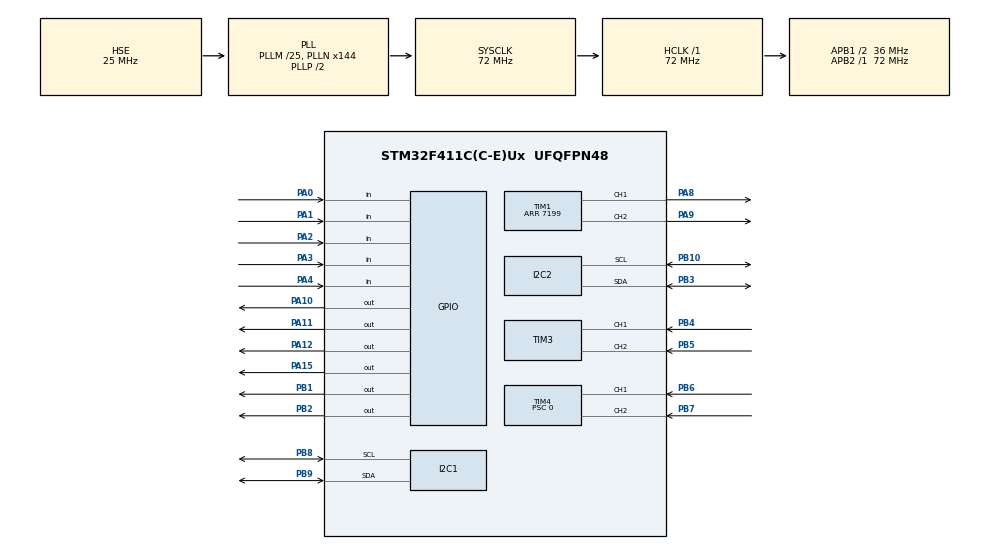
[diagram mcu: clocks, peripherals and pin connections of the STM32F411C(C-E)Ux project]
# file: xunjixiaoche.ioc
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Mcu.Family=STM32F4
Mcu.Name=STM32F411C(C-E)Ux
Mcu.Package=UFQFPN48
NVIC.PriorityGroup=NVIC_PRIORITYGROUP_4
NVIC.TIM1_BRK_TIM9_IRQn=true\:0\:0\:false\:false\:true\:true\:true\:true
NVIC.TIM4_IRQn=true\:0\:0\:false\:false\:true\:true\:true\:true
PA0-WKUP.Signal=GPIO_Input
PA1.Signal=GPIO_Input
PA10.Signal=GPIO_Output
PA11.Signal=GPIO_Output
PA12.Signal=GPIO_Output
PA13.Mode=Serial_Wire
PA13.Signal=SYS_JTMS-SWDIO
PA14.Mode=Serial_Wire
PA14.Signal=SYS_JTCK-SWCLK
PA15.Signal=GPIO_Output
PA2.Signal=GPIO_Input
PA3.Signal=GPIO_Input
PA4.Signal=GPIO_Input
PA8.Signal=S_TIM1_CH1
PA9.Signal=S_TIM1_CH2
PB1.Signal=GPIO_Output
PB10.Mode=I2C
PB10.Signal=I2C2_SCL
PB2.Signal=GPIO_Output
PB3.Mode=I2C
PB3.Signal=I2C2_SDA
PB4.Signal=S_TIM3_CH1
PB5.Signal=S_TIM3_CH2
PB6.Signal=S_TIM4_CH1
PB7.Signal=S_TIM4_CH2
PB8.Mode=I2C
PB8.Signal=I2C1_SCL
PB9.Mode=I2C
PB9.Signal=I2C1_SDA
PC14-OSC32_IN.Mode=LSE-External-Oscillator
PC14-OSC32_IN.Signal=RCC_OSC32_IN
PC15-OSC32_OUT.Mode=LSE-External-Oscillator
PC15-OSC32_OUT.Signal=RCC_OSC32_OUT
PH0\ -\ OSC_IN.Mode=HSE-External-Oscillator
PH0\ -\ OSC_IN.Signal=RCC_OSC_IN
PH1\ -\ OSC_OUT.Mode=HSE-External-Oscillator
PH1\ -\ OSC_OUT.Signal=RCC_OSC_OUT
ProjectManager.HeapSize=0x200
ProjectManager.StackSize=0x400
ProjectManager.TargetToolchain=STM32CubeIDE
RCC.48MHZClocksFreq_Value=36000000
RCC.AHBFreq_Value=72000000
RCC.APB1CLKDivider=RCC_HCLK_DIV2
RCC.APB1Freq_Value=36000000
RCC.APB1TimFreq_Value=72000000
RCC.APB2Freq_Value=72000000
RCC.APB2TimFreq_Value=72000000
RCC.CortexFreq_Value=72000000
RCC.HCLKFreq_Value=72000000
RCC.HSE_VALUE=25000000
RCC.HSI_VALUE=16000000
RCC.PLLM=25
RCC.PLLN=144
RCC.PLLSourceVirtual=RCC_PLLSOURCE_HSE
RCC.SYSCLKFreq_VALUE=72000000
RCC.SYSCLKSource=RCC_SYSCLKSOURCE_PLLCLK
RCC.VCOOutputFreq_Value=144000000
SH.S_TIM1_CH1.0=TIM1_CH1,PWM Generation1 CH1
SH.S_TIM1_CH2.0=TIM1_CH2,PWM Generation2 CH2
SH.S_TIM3_CH1.0=TIM3_CH1,Encoder_Interface
SH.S_TIM3_CH2.0=TIM3_CH2,Encoder_Interface
SH.S_TIM4_CH1.0=TIM4_CH1,Encoder_Interface
SH.S_TIM4_CH2.0=TIM4_CH2,Encoder_Interface
TIM1.Channel-PWM\ Generation1\ CH1=TIM_CHANNEL_1
TIM1.Channel-PWM\ Generation2\ CH2=TIM_CHANNEL_2
TIM1.Period=7199
TIM3.EncoderMode=TIM_ENCODERMODE_TI12
TIM4.EncoderMode=TIM_ENCODERMODE_TI12
TIM4.Prescaler=0
TIM9.Period=9999
TIM9.Prescaler=71
VP_TIM9_VS_ClockSourceINT.Mode=Internal
board=custom

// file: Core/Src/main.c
/* USER CODE BEGIN Header */
/**
  ******************************************************************************
  * @file           : main.c
  * @brief          : Main program body
  ******************************************************************************
  * @attention
  *
  * Copyright (c) 2026 STMicroelectronics.
  * All rights reserved.
  *
  * This software is licensed under terms that can be found in the LICENSE file
  * in the root directory of this software component.
  * If no LICENSE file comes with this software, it is provided AS-IS.
  *
  ******************************************************************************
  */
/* USER CODE END Header */
#include "main.h"
#include "i2c.h"
#include "tim.h"
#include "gpio.h"

/* USER CODE BEGIN Includes */
#include "stdio.h"
#include "motor.h"
#include  "oled.h"
#include "track.h"
#include "speed.h"
/* USER CODE END Includes */

/* USER CODE BEGIN PV */
uint8_t display_buf[20];
extern int16_t g_left_t_speed;
extern int16_t g_right_t_speed;
extern int16_t g_left_r_speed;
extern int16_t g_right_r_speed;
extern int s1,s2,s3,s4,s5;
/* USER CODE END PV */

void SystemClock_Config(void);

int main(void)
{

  /* MCU Configuration--------------------------------------------------------*/

  /* Reset of all peripherals, Initializes the Flash interface and the Systick. */
  HAL_Init();

  /* Configure the system clock */
  SystemClock_Config();

  /* Initialize all configured peripherals */
  MX_GPIO_Init();
  MX_I2C1_Init();
  MX_TIM3_Init();
  MX_TIM4_Init();
  MX_TIM9_Init();
  MX_TIM1_Init();
  MX_I2C2_Init();
  /* USER CODE BEGIN 2 */
  OLED_Init();
  OLED_Clear();
  OLED_ShowString(0,00,"Init Sucess",16);
  HAL_TIM_PWM_Start(&htim1,TIM_CHANNEL_1);
  HAL_TIM_PWM_Start(&htim1,TIM_CHANNEL_2);
  HAL_TIM_Encoder_Start(&htim3, TIM_CHANNEL_ALL);
  HAL_TIM_Encoder_Start(&htim4, TIM_CHANNEL_ALL);
  HAL_TIM_Base_Start_IT(&htim9);

  Load(0,0);
  OLED_Clear();
  /* USER CODE END 2 */

  /* Infinite loop */
  /* USER CODE BEGIN WHILE */
  while (1)
  {
    // 1. 降低刷新率，减轻 I2C 总线负担，防止干扰 2ms 的中断
    HAL_Delay(100);

    // // 第一行：显示左右目标速度 (Target)
    // sprintf((char *)display_buf, "T:L%4d R:%4d", g_left_t_speed, g_right_t_speed);
    OLED_ShowString(0, 0, display_buf, 16);

    // 第二行：显示传感器状态 (1.75cm 细线检测)
    sprintf((char *)display_buf, "Sens: %d%d%d%d%d", s1, s2, s3, s4, s5);
    OLED_ShowString(0, 2, display_buf, 16);

    // 第三行：显示左轮实际速度 (Real)
    sprintf((char *)display_buf, "RL: %d   ", g_left_r_speed);
    OLED_ShowString(0, 4, display_buf, 16);

    // 第四行：显示右轮实际速度 (Real)
    sprintf((char *)display_buf, "RR: %d   ", g_right_r_speed);
    OLED_ShowString(0, 6, display_buf, 16);
    /* USER CODE END WHILE */

  }
}

void SystemClock_Config(void)
{
  RCC_OscInitTypeDef RCC_OscInitStruct = {0};
  RCC_ClkInitTypeDef RCC_ClkInitStruct = {0};

  /** Configure the main internal regulator output voltage
  */
  __HAL_RCC_PWR_CLK_ENABLE();
  __HAL_PWR_VOLTAGESCALING_CONFIG(PWR_REGULATOR_VOLTAGE_SCALE1);

  /** Initializes the RCC Oscillators according to the specified parameters
  * in the RCC_OscInitTypeDef structure.
  */
  RCC_OscInitStruct.OscillatorType = RCC_OSCILLATORTYPE_HSE;
  RCC_OscInitStruct.HSEState = RCC_HSE_ON;
  RCC_OscInitStruct.PLL.PLLState = RCC_PLL_ON;
  RCC_OscInitStruct.PLL.PLLSource = RCC_PLLSOURCE_HSE;
  RCC_OscInitStruct.PLL.PLLM = 25;
  RCC_OscInitStruct.PLL.PLLN = 144;
  RCC_OscInitStruct.PLL.PLLP = RCC_PLLP_DIV2;
  RCC_OscInitStruct.PLL.PLLQ = 4;
  if (HAL_RCC_OscConfig(&RCC_OscInitStruct) != HAL_OK)
  {
    Error_Handler();
  }

  /** Initializes the CPU, AHB and APB buses clocks
  */
  RCC_ClkInitStruct.ClockType = RCC_CLOCKTYPE_HCLK|RCC_CLOCKTYPE_SYSCLK
                              |RCC_CLOCKTYPE_PCLK1|RCC_CLOCKTYPE_PCLK2;
  RCC_ClkInitStruct.SYSCLKSource = RCC_SYSCLKSOURCE_PLLCLK;
  RCC_ClkInitStruct.AHBCLKDivider = RCC_SYSCLK_DIV1;
  RCC_ClkInitStruct.APB1CLKDivider = RCC_HCLK_DIV2;
  RCC_ClkInitStruct.APB2CLKDivider = RCC_HCLK_DIV1;

  if (HAL_RCC_ClockConfig(&RCC_ClkInitStruct, FLASH_LATENCY_2) != HAL_OK)
  {
    Error_Handler();
  }
}

void Error_Handler(void)
{
  __disable_irq();
  while (1)
  {
  }
}
